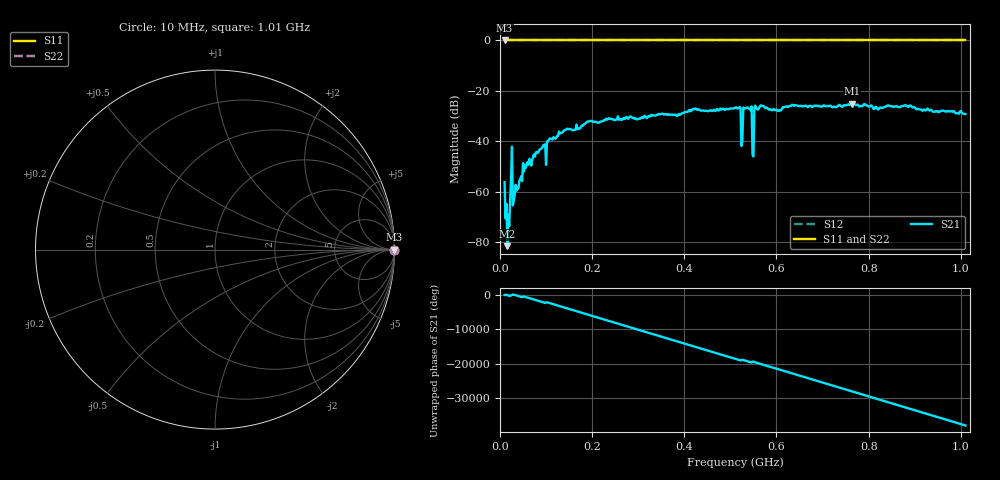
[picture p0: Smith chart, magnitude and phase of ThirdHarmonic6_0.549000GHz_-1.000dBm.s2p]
! 8/15/2025 5:22:08 PM
! C:\ANRITSUVNA\TEMP\TEMP.S2P
! CHANNEL.1
! TR.MEASUREMENT
! RAW.DATA
! RF.CORRECTION.OFF
! AVERAGING.OFF
! IF.BANDWIDTH: 5KHZ
! SWEEPTYPE:  FREQ.SWEEP(Linear)
! Reference Plane Port Info
! PORT:  PORT1  PORT2
! DISTANCE:  0  m  0  m
! TIME:  0  s  0  s
! PHASE.OFFSET:  0  deg.  0  deg.
! LOSS:  0  dB  0  dB
! REF.LOSS:  0  dB  0  dB
! REF.FREQ:  0  Hz  0  Hz
! Power Info
! POWER:  -20  dBm  -20  dBm
! EFF.POWER:  -20  dBm  -20  dBm
! SOURCE.ATTEN:  0  dB  0  dB
! TEST.ATTEN:  0  dB  0  dB
# GHZ S RI R 50.0
! FREQ.GHZ  S11RE  S11IM  S21RE  S21IM  S12RE  S12IM  S22RE  S22IM
!; PortSelection: Port_12
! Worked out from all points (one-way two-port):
!   501 points, 10 MHz to 1.01 GHz, reference 50 ohm
!   highest |S21| = -25.10 dB at 764 MHz (marker M1); lowest = -81.6 dB at 16 MHz (marker M2)
!   lowest |S11| = 0.0 dB at 10 MHz (marker M3)
!   |S11| at or under -10 dB: nowhere
!   |S22| runs from 0.0 to 0.0 dB; largest |S21 - S12| = 1.1
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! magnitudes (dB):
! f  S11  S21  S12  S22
! 10 MHz  0.0  -56.2  0.0  0.0
! 16 MHz  0.0  -81.6  0.0  0.0
! 20 MHz  0.0  -73.6  0.0  0.0
! 22 MHz  0.0  -63.6  0.0  0.0
! 26 MHz  0.0  -42.1  0.0  0.0
! 32 MHz  0.0  -61.2  0.0  0.0
! 54 MHz  0.0  -49.3  0.0  0.0
! 106 MHz  0.0  -39.4  0.0  0.0
! 178 MHz  0.0  -33.7  0.0  0.0
! 344 MHz  0.0  -29.1  0.0  0.0
! 510 MHz  0.0  -26.7  0.0  0.0
! 528 MHz  0.0  -26.6  0.0  0.0
! 532 MHz  0.0  -26.9  0.0  0.0
! 542 MHz  0.0  -27.1  0.0  0.0
! 546 MHz  0.0  -26.1  0.0  0.0
! 552 MHz  0.0  -26.9  0.0  0.0
! 556 MHz  0.0  -26.7  0.0  0.0
! 568 MHz  0.0  -26.0  0.0  0.0
! 678 MHz  0.0  -26.4  0.0  0.0
! 764 MHz  0.0  -25.1  0.0  0.0
! 844 MHz  0.0  -25.8  0.0  0.0
! 1.01 GHz  0.0  -29.2  0.0  0.0
